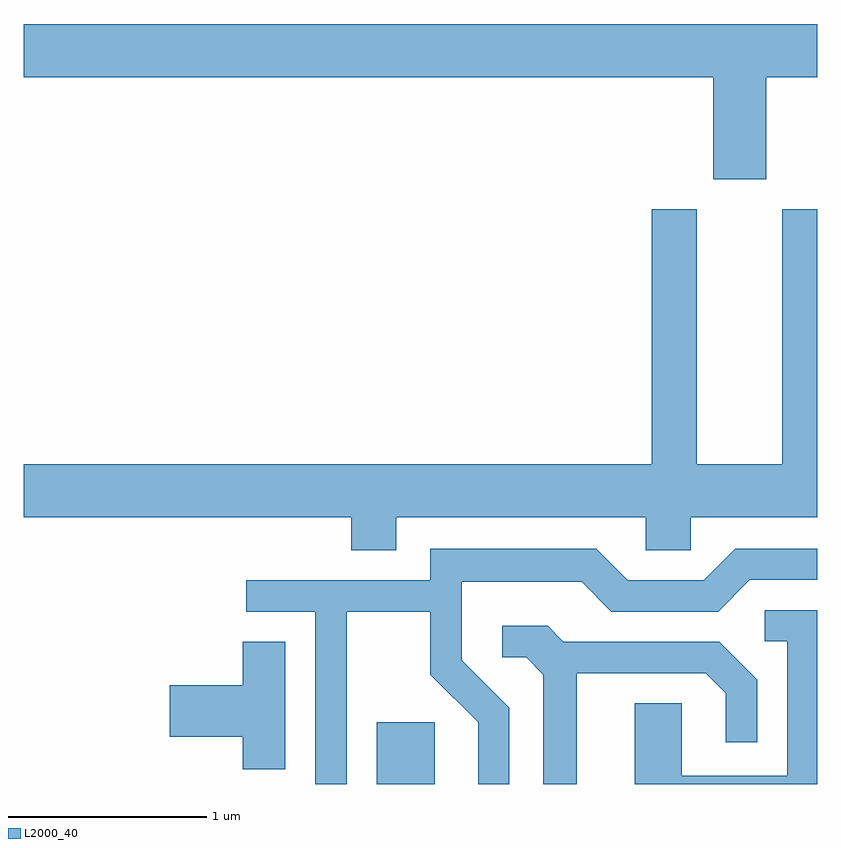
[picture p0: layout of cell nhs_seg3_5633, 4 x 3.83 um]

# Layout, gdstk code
import gdstk
lib = gdstk.Library(unit=1e-6, precision=1e-09)
def R(c, l, rs):  # rectangles x0, y0, x1, y1
    for r in rs: c.add(gdstk.rectangle(r[:2], r[2:], *l))
def P(c, l, *ps):  # polygons
    for p in ps: c.add(gdstk.Polygon(p, *l))
L2000_40 = (2000, 40)

nhs_seg3_5633 = lib.new_cell('nhs_seg3_5633')
R(nhs_seg3_5633, L2000_40, [(351.391,1237.892,351.684,1238.204)])
P(nhs_seg3_5633, L2000_40, [(353.354,1241.456),(353.611,1241.456),(353.611,1241.724),(349.611,1241.724),(349.611,1241.456),(353.086,1241.456),(353.086,1240.941),(353.354,1240.941)],
  [(351.489,1239.236),(352.746,1239.236),(352.746,1239.071),(352.974,1239.071),(352.974,1239.236),(353.611,1239.236),(353.611,1240.789),(353.436,1240.789),(353.436,1239.504),(353.004,1239.504),(353.004,1240.789),(352.776,1240.789),(352.776,1239.504),(349.611,1239.504),(349.611,1239.236),(351.261,1239.236),(351.261,1239.071),(351.489,1239.071)],
  [(351.239,1238.761),(351.661,1238.761),(351.661,1238.444),(351.901,1238.204),(351.901,1237.892),(352.059,1237.892),(352.059,1238.277),(351.819,1238.517),(351.819,1238.911),(352.424,1238.911),(352.574,1238.761),(353.112,1238.761),(353.272,1238.921),(353.611,1238.921),(353.611,1239.079),(353.199,1239.079),(353.039,1238.919),(352.657,1238.919),(352.497,1239.079),(351.661,1239.079),(351.661,1238.919),(350.733,1238.919),(350.733,1238.761),(351.081,1238.761),(351.081,1237.892),(351.239,1237.892)],
  [(353.611,1238.769),(353.348,1238.769),(353.348,1238.611),(353.461,1238.611),(353.461,1237.934),(352.929,1237.934),(352.929,1238.299),(352.691,1238.299),(352.691,1237.892),(353.611,1237.892)],
  [(352.399,1238.451),(353.049,1238.451),(353.151,1238.349),(353.151,1238.103),(353.309,1238.103),(353.309,1238.417),(353.117,1238.609),(352.332,1238.609),(352.252,1238.689),(352.023,1238.689),(352.023,1238.531),(352.144,1238.531),(352.231,1238.444),(352.231,1237.892),(352.399,1237.892)],
  [(350.929,1238.609),(350.716,1238.609),(350.716,1238.389),(350.346,1238.389),(350.346,1238.131),(350.716,1238.131),(350.716,1237.966),(350.929,1237.966)])

lib.write_gds('nhs_seg3_5633.gds')
